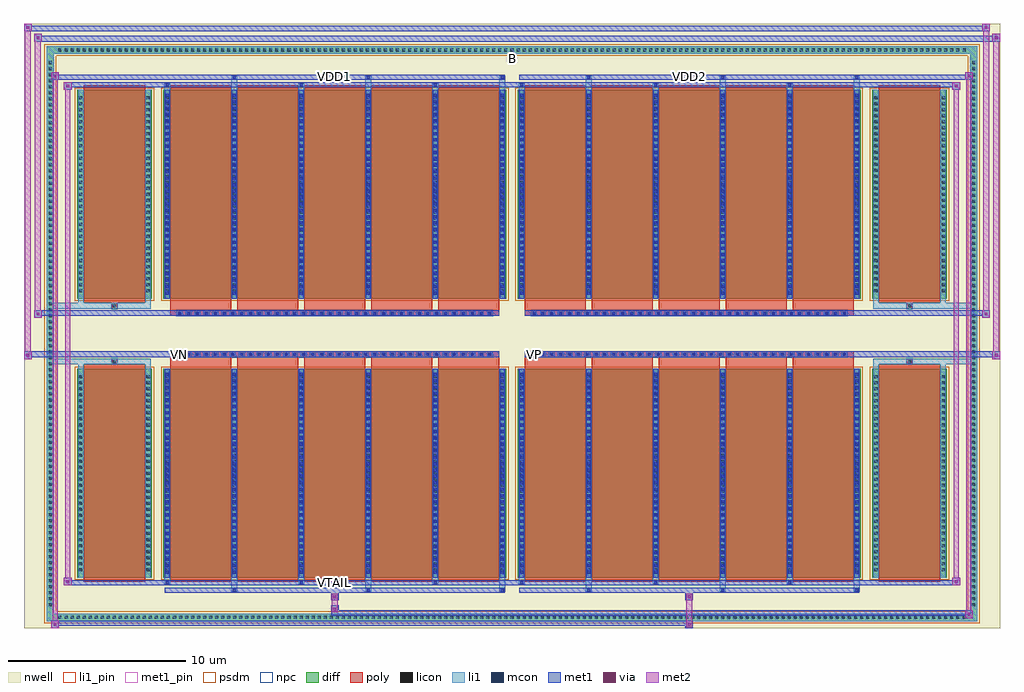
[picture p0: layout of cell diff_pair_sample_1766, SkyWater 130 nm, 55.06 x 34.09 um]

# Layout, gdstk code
import gdstk
lib = gdstk.Library(unit=1e-6, precision=5e-09)
def R(c, l, rs):  # rectangles x0, y0, x1, y1
    for r in rs: c.add(gdstk.rectangle(r[:2], r[2:], *l))
def A(c, l, x, y, w, h, nx, ny, dx, dy):  # array of equal rectangles
    R(c, l, [(x+i*dx, y+j*dy, x+i*dx+w, y+j*dy+h) for i in range(nx) for j in range(ny)])
def P(c, l, *ps):  # polygons
    for p in ps: c.add(gdstk.Polygon(p, *l))
nwell = (64, 20)
diff = (65, 20)
poly = (66, 20)
licon = (66, 44)
li1_pin = (67, 16)
li1 = (67, 20)
mcon = (67, 44)
met1_pin = (68, 16)
met1 = (68, 20)
via = (68, 44)
met2 = (69, 20)
psdm = (94, 20)
npc = (95, 20)

diff_pair_sample_1766 = lib.new_cell('diff_pair_sample_1766')
R(diff_pair_sample_1766, nwell, [(-27.53,-16.61,27.53,17.48), (-24.85,-14.8,-0.01,-0.8), (0.01,-14.8,24.85,-0.8), (-24.85,0.8,-0.01,14.8), (0.01,0.8,24.85,14.8)])
A(diff_pair_sample_1766, diff, -25.705, -16.21, 0.41, 0.41, 151, 2, 0.34, 32.01)
A(diff_pair_sample_1766, diff, -26.26, -15.505, 0.41, 0.41, 1, 91, 0, 0.34)
A(diff_pair_sample_1766, diff, 25.85, -15.505, 0.41, 0.41, 1, 91, 0, 0.34)
R(diff_pair_sample_1766, diff, [(-25.705,-16.21,25.705,-15.8), (-26.26,-15.505,-25.85,15.505), (25.85,-15.505,26.26,15.505), (-24.54,-13.755,-20.31,-1.985), (-19.67,-13.755,-0.32,-1.985), (0.32,-13.755,19.67,-1.985), (20.31,-13.755,24.54,-1.985), (-24.54,1.985,-20.31,13.755), (-19.67,1.985,-0.32,13.755), (0.32,1.985,19.67,13.755), (20.31,1.985,24.54,13.755), (-25.705,15.8,25.705,16.21)])
P(diff_pair_sample_1766, diff, [(26.26,16.21),(-26.26,16.21),(-26.26,-15.8),(-25.85,-15.8),(-25.85,15.8),(25.85,15.8),(25.85,-15.8),(-25.85,-15.8),(-26.26,-15.8),(-26.26,-16.21),(26.26,-16.21)])
A(diff_pair_sample_1766, poly, -19.28, -14.005, 3.45, 12.27, 5, 2, 3.78, 15.74)
A(diff_pair_sample_1766, poly, 0.71, -14.005, 3.45, 12.27, 5, 2, 3.78, 15.74)
A(diff_pair_sample_1766, poly, -19.28, -1.735, 3.45, 0.405, 5, 2, 3.78, 3.065)
A(diff_pair_sample_1766, poly, 0.71, -1.735, 3.45, 0.405, 5, 2, 3.78, 3.065)
A(diff_pair_sample_1766, poly, -18.91, -1.33, 0.33, 0.33, 36, 2, 0.5, 2.33)
A(diff_pair_sample_1766, poly, 1.08, -1.33, 0.33, 0.33, 36, 2, 0.5, 2.33)
R(diff_pair_sample_1766, poly, [(-24.15,-14.005,-20.7,-1.735), (20.7,-14.005,24.15,-1.735), (-22.59,-1.735,-22.26,-1.405), (-22.59,-1.735,-22.26,-1.405), (22.26,-1.735,22.59,-1.405), (22.26,-1.735,22.59,-1.405), (-19.28,-1.33,-0.71,-1), (0.71,-1.33,19.28,-1), (-19.28,1,-0.71,1.33), (0.71,1,19.28,1.33), (-22.59,1.405,-22.26,1.735), (-22.59,1.405,-22.26,1.735), (22.26,1.405,22.59,1.735), (22.26,1.405,22.59,1.735), (-24.15,1.735,-20.7,14.005), (20.7,1.735,24.15,14.005)])
A(diff_pair_sample_1766, licon, -25.585, -16.09, 0.17, 0.17, 151, 2, 0.34, 32.01)
A(diff_pair_sample_1766, licon, -26.14, -15.385, 0.17, 0.17, 1, 91, 0, 0.34)
A(diff_pair_sample_1766, licon, 25.97, -15.385, 0.17, 0.17, 1, 91, 0, 0.34)
A(diff_pair_sample_1766, licon, -24.4, -13.395, 0.17, 0.17, 1, 33, 0, 0.34)
A(diff_pair_sample_1766, licon, -20.62, -13.395, 0.17, 0.17, 1, 33, 0, 0.34)
A(diff_pair_sample_1766, licon, -19.53, -13.395, 0.17, 0.17, 6, 33, 3.78, 0.34)
A(diff_pair_sample_1766, licon, 0.46, -13.395, 0.17, 0.17, 6, 33, 3.78, 0.34)
A(diff_pair_sample_1766, licon, 20.45, -13.395, 0.17, 0.17, 1, 33, 0, 0.34)
A(diff_pair_sample_1766, licon, 24.23, -13.395, 0.17, 0.17, 1, 33, 0, 0.34)
A(diff_pair_sample_1766, licon, -18.83, -1.25, 0.17, 0.17, 36, 2, 0.5, 2.33)
A(diff_pair_sample_1766, licon, 1.16, -1.25, 0.17, 0.17, 36, 2, 0.5, 2.33)
A(diff_pair_sample_1766, licon, -24.4, 2.345, 0.17, 0.17, 1, 33, 0, 0.34)
A(diff_pair_sample_1766, licon, -20.62, 2.345, 0.17, 0.17, 1, 33, 0, 0.34)
A(diff_pair_sample_1766, licon, -19.53, 2.345, 0.17, 0.17, 6, 33, 3.78, 0.34)
A(diff_pair_sample_1766, licon, 0.46, 2.345, 0.17, 0.17, 6, 33, 3.78, 0.34)
A(diff_pair_sample_1766, licon, 20.45, 2.345, 0.17, 0.17, 1, 33, 0, 0.34)
A(diff_pair_sample_1766, licon, 24.23, 2.345, 0.17, 0.17, 1, 33, 0, 0.34)
R(diff_pair_sample_1766, licon, [(-22.51,-1.655,-22.34,-1.485), (22.34,-1.655,22.51,-1.485), (-22.51,1.485,-22.34,1.655), (22.34,1.485,22.51,1.655)])
R(diff_pair_sample_1766, li1_pin, [(-0.25,15.3,0.25,15.8)])
A(diff_pair_sample_1766, li1, -25.665, -16.17, 0.33, 0.33, 151, 2, 0.34, 32.01)
A(diff_pair_sample_1766, li1, -26.22, -15.465, 0.33, 0.33, 1, 91, 0, 0.34)
A(diff_pair_sample_1766, li1, 25.89, -15.465, 0.33, 0.33, 1, 91, 0, 0.34)
A(diff_pair_sample_1766, li1, -15.83, -14.56, 0.33, 0.805, 3, 2, 7.56, 28.315)
A(diff_pair_sample_1766, li1, -15.75, -14.56, 0.17, 0.17, 3, 2, 7.56, 28.95)
A(diff_pair_sample_1766, li1, 4.16, -14.56, 0.33, 0.805, 3, 2, 7.56, 28.315)
A(diff_pair_sample_1766, li1, 4.24, -14.56, 0.17, 0.17, 3, 2, 7.56, 28.95)
A(diff_pair_sample_1766, li1, -19.61, -14.13, 0.33, 0.375, 3, 2, 7.56, 27.885)
A(diff_pair_sample_1766, li1, -19.53, -14.13, 0.17, 0.17, 3, 2, 7.56, 28.09)
A(diff_pair_sample_1766, li1, 0.38, -14.13, 0.33, 0.375, 3, 2, 7.56, 27.885)
A(diff_pair_sample_1766, li1, 0.46, -14.13, 0.17, 0.17, 3, 2, 7.56, 28.09)
A(diff_pair_sample_1766, li1, -19.61, -13.755, 0.33, 11.77, 6, 2, 3.78, 15.74)
A(diff_pair_sample_1766, li1, 0.38, -13.755, 0.33, 11.77, 6, 2, 3.78, 15.74)
A(diff_pair_sample_1766, li1, -19.53, -13.535, 0.17, 0.17, 6, 32, 3.78, 0.36)
A(diff_pair_sample_1766, li1, -19.53, -13.535, 0.17, 11.33, 6, 2, 3.78, 15.74)
A(diff_pair_sample_1766, li1, 0.46, -13.535, 0.17, 0.17, 6, 32, 3.78, 0.36)
A(diff_pair_sample_1766, li1, 0.46, -13.535, 0.17, 11.33, 6, 2, 3.78, 15.74)
A(diff_pair_sample_1766, li1, -24.48, -13.475, 0.33, 0.33, 1, 33, 0, 0.34)
A(diff_pair_sample_1766, li1, -20.7, -13.475, 0.33, 0.33, 1, 33, 0, 0.34)
A(diff_pair_sample_1766, li1, -19.61, -13.475, 0.33, 0.33, 6, 33, 3.78, 0.34)
A(diff_pair_sample_1766, li1, 0.38, -13.475, 0.33, 0.33, 6, 33, 3.78, 0.34)
A(diff_pair_sample_1766, li1, 20.37, -13.475, 0.33, 0.33, 1, 33, 0, 0.34)
A(diff_pair_sample_1766, li1, 24.15, -13.475, 0.33, 0.33, 1, 33, 0, 0.34)
A(diff_pair_sample_1766, li1, -18.91, -1.33, 0.33, 0.33, 36, 2, 0.5, 2.33)
A(diff_pair_sample_1766, li1, 1.08, -1.33, 0.33, 0.33, 36, 2, 0.5, 2.33)
A(diff_pair_sample_1766, li1, -19.53, 2.205, 0.17, 0.17, 6, 32, 3.78, 0.36)
A(diff_pair_sample_1766, li1, 0.46, 2.205, 0.17, 0.17, 6, 32, 3.78, 0.36)
A(diff_pair_sample_1766, li1, -24.48, 2.265, 0.33, 0.33, 1, 33, 0, 0.34)
A(diff_pair_sample_1766, li1, -20.7, 2.265, 0.33, 0.33, 1, 33, 0, 0.34)
A(diff_pair_sample_1766, li1, -19.61, 2.265, 0.33, 0.33, 6, 33, 3.78, 0.34)
A(diff_pair_sample_1766, li1, 0.38, 2.265, 0.33, 0.33, 6, 33, 3.78, 0.34)
A(diff_pair_sample_1766, li1, 20.37, 2.265, 0.33, 0.33, 1, 33, 0, 0.34)
A(diff_pair_sample_1766, li1, 24.15, 2.265, 0.33, 0.33, 1, 33, 0, 0.34)
R(diff_pair_sample_1766, li1, [(-26.26,-16.21,-25.85,-15.8), (-26.26,-16.21,-25.85,-15.8), (-25.85,-16.21,25.85,-15.8), (25.85,-16.21,26.26,-15.8), (25.85,-16.21,26.26,-15.8), (-26.26,-15.8,-25.85,15.8), (25.85,-15.8,26.26,15.8), (-24.48,-13.755,-24.15,-1.985), (-20.7,-13.755,-20.37,-1.985), (20.37,-13.755,20.7,-1.985), (24.15,-13.755,24.48,-1.985), (-24.48,-1.985,-24.15,-1.405), (-20.7,-1.985,-20.37,-1.405), (20.37,-1.985,20.7,-1.405), (24.15,-1.985,24.48,-1.405), (-26.26,-1.735,-22.59,-1.405), (-24.48,-1.735,-22.59,-1.405), (-22.59,-1.735,-22.26,-1.405), (-22.26,-1.735,-20.37,-1.405), (20.37,-1.735,22.26,-1.405), (22.26,-1.735,22.59,-1.405), (22.26,-1.735,26.26,-1.405), (22.59,-1.735,24.48,-1.405), (-26.26,1.405,-22.59,1.735), (-24.48,1.405,-22.59,1.735), (-24.48,1.405,-24.15,1.985), (-22.59,1.405,-22.26,1.735), (-22.26,1.405,-20.37,1.735), (-20.7,1.405,-20.37,1.985), (20.37,1.405,22.26,1.735), (20.37,1.405,20.7,1.985), (22.26,1.405,22.59,1.735), (22.26,1.405,26.26,1.735), (22.59,1.405,24.48,1.735), (24.15,1.405,24.48,1.985), (-24.48,1.985,-24.15,13.755), (-20.7,1.985,-20.37,13.755), (20.37,1.985,20.7,13.755), (24.15,1.985,24.48,13.755), (-26.26,15.8,-25.85,16.21), (-26.26,15.8,-25.85,16.21), (-25.85,15.8,25.85,16.21), (25.85,15.8,26.26,16.21), (25.85,15.8,26.26,16.21)])
A(diff_pair_sample_1766, mcon, -15.75, -14.56, 0.17, 0.17, 3, 2, 7.56, 28.95)
A(diff_pair_sample_1766, mcon, 4.24, -14.56, 0.17, 0.17, 3, 2, 7.56, 28.95)
A(diff_pair_sample_1766, mcon, -19.53, -14.13, 0.17, 0.17, 3, 2, 7.56, 28.09)
A(diff_pair_sample_1766, mcon, 0.46, -14.13, 0.17, 0.17, 3, 2, 7.56, 28.09)
A(diff_pair_sample_1766, mcon, -19.53, -13.535, 0.17, 0.17, 6, 32, 3.78, 0.36)
A(diff_pair_sample_1766, mcon, 0.46, -13.535, 0.17, 0.17, 6, 32, 3.78, 0.36)
A(diff_pair_sample_1766, mcon, -18.83, -1.25, 0.17, 0.17, 36, 2, 0.5, 2.33)
A(diff_pair_sample_1766, mcon, 1.16, -1.25, 0.17, 0.17, 36, 2, 0.5, 2.33)
A(diff_pair_sample_1766, mcon, -19.53, 2.205, 0.17, 0.17, 6, 32, 3.78, 0.36)
A(diff_pair_sample_1766, mcon, 0.46, 2.205, 0.17, 0.17, 6, 32, 3.78, 0.36)
R(diff_pair_sample_1766, met1_pin, [(-10.13,-14.17,-9.86,-13.9), (-18.88,-1.29,-18.61,-1.02), (1.11,-1.29,1.38,-1.02), (-10.13,14.35,-9.86,14.62), (9.86,14.35,10.13,14.62)])
A(diff_pair_sample_1766, met1, -15.81, -14.62, 0.29, 0.29, 3, 2, 7.56, 28.95)
A(diff_pair_sample_1766, met1, 4.18, -14.62, 0.29, 0.29, 3, 2, 7.56, 28.95)
A(diff_pair_sample_1766, met1, -19.59, -14.19, 0.29, 0.29, 3, 2, 7.56, 28.09)
A(diff_pair_sample_1766, met1, 0.4, -14.19, 0.29, 0.29, 3, 2, 7.56, 28.09)
A(diff_pair_sample_1766, met1, -19.59, -13.755, 0.29, 11.77, 6, 2, 3.78, 15.74)
A(diff_pair_sample_1766, met1, 0.4, -13.755, 0.29, 11.77, 6, 2, 3.78, 15.74)
A(diff_pair_sample_1766, met1, -19.59, -13.595, 0.29, 0.29, 6, 32, 3.78, 0.36)
A(diff_pair_sample_1766, met1, 0.4, -13.595, 0.29, 0.29, 6, 32, 3.78, 0.36)
A(diff_pair_sample_1766, met1, -18.89, -1.31, 0.29, 0.29, 36, 2, 0.5, 2.33)
A(diff_pair_sample_1766, met1, 1.1, -1.31, 0.29, 0.29, 36, 2, 0.5, 2.33)
A(diff_pair_sample_1766, met1, -19.59, 2.145, 0.29, 0.29, 6, 32, 3.78, 0.36)
A(diff_pair_sample_1766, met1, 0.4, 2.145, 0.29, 0.29, 6, 32, 3.78, 0.36)
R(diff_pair_sample_1766, met1, [(-25.99,-16.61,-25.56,-16.18), (9.78,-16.61,10.21,-16.18), (-25.99,-16.47,10.21,-16.18), (25.56,-16.04,25.99,-15.61), (-10.21,-15.9,25.99,-15.61), (-10.21,-15.76,-9.78,-15.33), (-10.21,-15.05,-9.78,-14.62), (9.78,-15.05,10.21,-14.62), (-19.59,-14.62,-0.4,-14.33), (0.4,-14.62,19.59,-14.33), (-25.28,-14.19,-24.85,-13.76), (-25.28,-14.19,-19.59,-13.9), (-19.59,-14.19,-0.4,-13.9), (-0.4,-14.19,0.4,-13.9), (0.4,-14.19,19.59,-13.9), (19.59,-14.19,25.28,-13.9), (24.85,-14.19,25.28,-13.76), (-27.53,-1.43,-27.1,-1), (27.1,-1.43,27.53,-1), (-27.53,-1.33,-0.71,-1), (-19.28,-1.33,-0.71,-1), (0.71,-1.33,19.28,-1), (0.71,-1.33,27.53,-1), (-26.96,0.9,-26.53,1.33), (26.53,0.9,26.96,1.33), (-26.96,1,-19.28,1.33), (-19.28,1,-0.71,1.33), (0.71,1,19.28,1.33), (19.28,1,26.96,1.33), (-25.28,13.76,-24.85,14.19), (24.85,13.76,25.28,14.19), (-25.28,13.9,-19.59,14.19), (-19.59,13.9,-0.4,14.19), (-0.4,13.9,0.4,14.19), (0.4,13.9,19.59,14.19), (19.59,13.9,25.28,14.19), (-25.99,14.33,-25.56,14.76), (-25.99,14.33,-19.59,14.62), (-19.59,14.33,-0.4,14.62), (0.4,14.33,19.59,14.62), (19.59,14.33,25.99,14.62), (25.56,14.33,25.99,14.76), (-26.96,16.48,-26.53,16.91), (-26.96,16.48,-24.85,16.81), (-24.85,16.48,24.85,16.81), (24.85,16.48,27.53,16.81), (27.1,16.48,27.53,16.91), (-27.53,17.05,-27.1,17.48), (-27.53,17.05,-24.85,17.38), (-24.85,17.05,24.85,17.38), (24.85,17.05,26.96,17.38), (26.53,17.05,26.96,17.48)])
R(diff_pair_sample_1766, via, [(-25.85,-16.47,-25.7,-16.32), (9.92,-16.47,10.07,-16.32), (25.7,-15.9,25.85,-15.75), (-10.07,-15.62,-9.92,-15.47), (-10.07,-14.91,-9.92,-14.76), (9.92,-14.91,10.07,-14.76), (-25.14,-14.05,-24.99,-13.9), (24.99,-14.05,25.14,-13.9), (-27.39,-1.29,-27.24,-1.14), (27.24,-1.29,27.39,-1.14), (-26.82,1.04,-26.67,1.19), (26.67,1.04,26.82,1.19), (-25.14,13.9,-24.99,14.05), (24.99,13.9,25.14,14.05), (-25.85,14.47,-25.7,14.62), (25.7,14.47,25.85,14.62), (-26.82,16.62,-26.67,16.77), (27.24,16.62,27.39,16.77), (-27.39,17.19,-27.24,17.34), (26.67,17.19,26.82,17.34)])
R(diff_pair_sample_1766, met2, [(-25.99,-16.61,-25.56,-16.18), (-25.92,-16.61,-25.63,14.76), (-25.63,-16.61,-25.56,-16.18), (-25.94,-16.56,-25.61,-16.23), (9.83,-16.56,10.16,-16.23), (9.83,-16.23,10.16,-15), (25.56,-16.04,25.99,-15.61), (25.63,-16.04,25.92,14.76), (25.92,-16.04,25.99,-15.61), (25.61,-15.99,25.94,-15.66), (-10.16,-15.71,-9.83,-15.38), (-10.16,-15.38,-9.83,-15), (-10.16,-15,-9.83,-14.67), (9.83,-15,10.16,-14.67), (-25.28,-14.19,-24.85,-13.76), (-25.21,-14.19,-24.92,14.19), (-24.92,-14.19,-24.85,-13.76), (24.85,-14.19,25.28,-13.76), (24.92,-14.19,25.21,14.19), (25.21,-14.19,25.28,-13.76), (-25.23,-14.14,-24.9,-13.81), (24.9,-14.14,25.23,-13.81), (-27.53,-1.43,-27.1,-1), (-27.48,-1.43,-27.15,17.48), (-27.15,-1.43,-27.1,-1), (27.1,-1.43,27.53,-1), (27.15,-1.43,27.48,16.91), (27.48,-1.43,27.53,-1), (-27.48,-1.38,-27.15,-1.05), (27.15,-1.38,27.48,-1.05), (-26.96,0.9,-26.53,1.33), (-26.91,0.9,-26.58,16.91), (-26.58,0.9,-26.53,1.33), (26.53,0.9,26.96,1.33), (26.58,0.9,26.91,17.48), (26.91,0.9,26.96,1.33), (-26.91,0.95,-26.58,1.28), (26.58,0.95,26.91,1.28), (-25.28,13.76,-24.85,14.19), (-24.92,13.76,-24.85,14.19), (24.85,13.76,25.28,14.19), (25.21,13.76,25.28,14.19), (-25.23,13.81,-24.9,14.14), (24.9,13.81,25.23,14.14), (-25.99,14.33,-25.56,14.76), (-25.63,14.33,-25.56,14.76), (25.56,14.33,25.99,14.76), (25.92,14.33,25.99,14.76), (-25.94,14.38,-25.61,14.71), (25.61,14.38,25.94,14.71), (-26.96,16.48,-26.53,16.91), (-26.58,16.48,-26.53,16.91), (27.1,16.48,27.53,16.91), (27.48,16.48,27.53,16.91), (-26.91,16.53,-26.58,16.86), (27.15,16.53,27.48,16.86), (-27.53,17.05,-27.1,17.48), (-27.15,17.05,-27.1,17.48), (26.53,17.05,26.96,17.48), (26.91,17.05,26.96,17.48), (-27.48,17.1,-27.15,17.43), (26.58,17.1,26.91,17.43)])
R(diff_pair_sample_1766, psdm, [(-24.67,-13.885,-20.18,-1.855), (-19.8,-13.885,-0.19,-1.855), (0.19,-13.885,19.8,-1.855), (20.18,-13.885,24.67,-1.855), (-24.67,1.855,-20.18,13.885), (-19.8,1.855,-0.19,13.885), (0.19,1.855,19.8,13.885), (20.18,1.855,24.67,13.885)])
P(diff_pair_sample_1766, psdm, [(26.39,16.34),(-26.39,16.34),(-26.39,-15.67),(-25.72,-15.67),(-25.72,15.67),(25.72,15.67),(25.72,-15.67),(-25.72,-15.67),(-26.39,-15.67),(-26.39,-16.34),(26.39,-16.34)])
A(diff_pair_sample_1766, npc, -18.93, -1.35, 0.37, 0.37, 36, 2, 0.5, 2.33)
A(diff_pair_sample_1766, npc, 1.06, -1.35, 0.37, 0.37, 36, 2, 0.5, 2.33)
R(diff_pair_sample_1766, npc, [(-22.61,-1.755,-22.24,-1.385), (22.24,-1.755,22.61,-1.385), (-18.93,-1.35,-18.06,-0.98), (-18.93,-1.35,-18.06,-0.98), (-18.43,-1.35,-17.56,-0.98), (-18.43,-1.35,-17.56,-0.98), (-17.93,-1.35,-17.06,-0.98), (-17.93,-1.35,-17.06,-0.98), (-17.43,-1.35,-16.56,-0.98), (-17.43,-1.35,-16.56,-0.98), (-16.93,-1.35,-16.06,-0.98), (-16.93,-1.35,-16.06,-0.98), (-16.43,-1.35,-15.56,-0.98), (-16.43,-1.35,-15.56,-0.98), (-15.93,-1.35,-15.06,-0.98), (-15.93,-1.35,-15.06,-0.98), (-15.43,-1.35,-14.56,-0.98), (-15.43,-1.35,-14.56,-0.98), (-14.93,-1.35,-14.06,-0.98), (-14.93,-1.35,-14.06,-0.98), (-14.43,-1.35,-13.56,-0.98), (-14.43,-1.35,-13.56,-0.98), (-13.93,-1.35,-13.06,-0.98), (-13.93,-1.35,-13.06,-0.98), (-13.43,-1.35,-12.56,-0.98), (-13.43,-1.35,-12.56,-0.98), (-12.93,-1.35,-12.06,-0.98), (-12.93,-1.35,-12.06,-0.98), (-12.43,-1.35,-11.56,-0.98), (-12.43,-1.35,-11.56,-0.98), (-11.93,-1.35,-11.06,-0.98), (-11.93,-1.35,-11.06,-0.98), (-11.43,-1.35,-10.56,-0.98), (-11.43,-1.35,-10.56,-0.98), (-10.93,-1.35,-10.06,-0.98), (-10.93,-1.35,-10.06,-0.98), (-10.43,-1.35,-9.56,-0.98), (-10.43,-1.35,-9.56,-0.98), (-9.93,-1.35,-9.06,-0.98), (-9.93,-1.35,-9.06,-0.98), (-9.43,-1.35,-8.56,-0.98), (-9.43,-1.35,-8.56,-0.98), (-8.93,-1.35,-8.06,-0.98), (-8.93,-1.35,-8.06,-0.98), (-8.43,-1.35,-7.56,-0.98), (-8.43,-1.35,-7.56,-0.98), (-7.93,-1.35,-7.06,-0.98), (-7.93,-1.35,-7.06,-0.98), (-7.43,-1.35,-6.56,-0.98), (-7.43,-1.35,-6.56,-0.98), (-6.93,-1.35,-6.06,-0.98), (-6.93,-1.35,-6.06,-0.98), (-6.43,-1.35,-5.56,-0.98), (-6.43,-1.35,-5.56,-0.98), (-5.93,-1.35,-5.06,-0.98), (-5.93,-1.35,-5.06,-0.98), (-5.43,-1.35,-4.56,-0.98), (-5.43,-1.35,-4.56,-0.98), (-4.93,-1.35,-4.06,-0.98), (-4.93,-1.35,-4.06,-0.98), (-4.43,-1.35,-3.56,-0.98), (-4.43,-1.35,-3.56,-0.98), (-3.93,-1.35,-3.06,-0.98), (-3.93,-1.35,-3.06,-0.98), (-3.43,-1.35,-2.56,-0.98), (-3.43,-1.35,-2.56,-0.98), (-2.93,-1.35,-2.06,-0.98), (-2.93,-1.35,-2.06,-0.98), (-2.43,-1.35,-1.56,-0.98), (-2.43,-1.35,-1.56,-0.98), (-1.93,-1.35,-1.06,-0.98), (-1.93,-1.35,-1.06,-0.98), (1.06,-1.35,1.93,-0.98), (1.06,-1.35,1.93,-0.98), (1.56,-1.35,2.43,-0.98), (1.56,-1.35,2.43,-0.98), (2.06,-1.35,2.93,-0.98), (2.06,-1.35,2.93,-0.98), (2.56,-1.35,3.43,-0.98), (2.56,-1.35,3.43,-0.98), (3.06,-1.35,3.93,-0.98), (3.06,-1.35,3.93,-0.98), (3.56,-1.35,4.43,-0.98), (3.56,-1.35,4.43,-0.98), (4.06,-1.35,4.93,-0.98), (4.06,-1.35,4.93,-0.98), (4.56,-1.35,5.43,-0.98), (4.56,-1.35,5.43,-0.98), (5.06,-1.35,5.93,-0.98), (5.06,-1.35,5.93,-0.98), (5.56,-1.35,6.43,-0.98), (5.56,-1.35,6.43,-0.98), (6.06,-1.35,6.93,-0.98), (6.06,-1.35,6.93,-0.98), (6.56,-1.35,7.43,-0.98), (6.56,-1.35,7.43,-0.98), (7.06,-1.35,7.93,-0.98), (7.06,-1.35,7.93,-0.98), (7.56,-1.35,8.43,-0.98), (7.56,-1.35,8.43,-0.98), (8.06,-1.35,8.93,-0.98), (8.06,-1.35,8.93,-0.98), (8.56,-1.35,9.43,-0.98), (8.56,-1.35,9.43,-0.98), (9.06,-1.35,9.93,-0.98), (9.06,-1.35,9.93,-0.98), (9.56,-1.35,10.43,-0.98), (9.56,-1.35,10.43,-0.98), (10.06,-1.35,10.93,-0.98), (10.06,-1.35,10.93,-0.98), (10.56,-1.35,11.43,-0.98), (10.56,-1.35,11.43,-0.98), (11.06,-1.35,11.93,-0.98), (11.06,-1.35,11.93,-0.98), (11.56,-1.35,12.43,-0.98), (11.56,-1.35,12.43,-0.98), (12.06,-1.35,12.93,-0.98), (12.06,-1.35,12.93,-0.98), (12.56,-1.35,13.43,-0.98), (12.56,-1.35,13.43,-0.98), (13.06,-1.35,13.93,-0.98), (13.06,-1.35,13.93,-0.98), (13.56,-1.35,14.43,-0.98), (13.56,-1.35,14.43,-0.98), (14.06,-1.35,14.93,-0.98), (14.06,-1.35,14.93,-0.98), (14.56,-1.35,15.43,-0.98), (14.56,-1.35,15.43,-0.98), (15.06,-1.35,15.93,-0.98), (15.06,-1.35,15.93,-0.98), (15.56,-1.35,16.43,-0.98), (15.56,-1.35,16.43,-0.98), (16.06,-1.35,16.93,-0.98), (16.06,-1.35,16.93,-0.98), (16.56,-1.35,17.43,-0.98), (16.56,-1.35,17.43,-0.98), (17.06,-1.35,17.93,-0.98), (17.06,-1.35,17.93,-0.98), (17.56,-1.35,18.43,-0.98), (17.56,-1.35,18.43,-0.98), (18.06,-1.35,18.93,-0.98), (18.06,-1.35,18.93,-0.98), (-18.93,0.98,-18.06,1.35), (-18.93,0.98,-18.06,1.35), (-18.43,0.98,-17.56,1.35), (-18.43,0.98,-17.56,1.35), (-17.93,0.98,-17.06,1.35), (-17.93,0.98,-17.06,1.35), (-17.43,0.98,-16.56,1.35), (-17.43,0.98,-16.56,1.35), (-16.93,0.98,-16.06,1.35), (-16.93,0.98,-16.06,1.35), (-16.43,0.98,-15.56,1.35), (-16.43,0.98,-15.56,1.35), (-15.93,0.98,-15.06,1.35), (-15.93,0.98,-15.06,1.35), (-15.43,0.98,-14.56,1.35), (-15.43,0.98,-14.56,1.35), (-14.93,0.98,-14.06,1.35), (-14.93,0.98,-14.06,1.35), (-14.43,0.98,-13.56,1.35), (-14.43,0.98,-13.56,1.35), (-13.93,0.98,-13.06,1.35), (-13.93,0.98,-13.06,1.35), (-13.43,0.98,-12.56,1.35), (-13.43,0.98,-12.56,1.35), (-12.93,0.98,-12.06,1.35), (-12.93,0.98,-12.06,1.35), (-12.43,0.98,-11.56,1.35), (-12.43,0.98,-11.56,1.35), (-11.93,0.98,-11.06,1.35), (-11.93,0.98,-11.06,1.35), (-11.43,0.98,-10.56,1.35), (-11.43,0.98,-10.56,1.35), (-10.93,0.98,-10.06,1.35), (-10.93,0.98,-10.06,1.35), (-10.43,0.98,-9.56,1.35), (-10.43,0.98,-9.56,1.35), (-9.93,0.98,-9.06,1.35), (-9.93,0.98,-9.06,1.35), (-9.43,0.98,-8.56,1.35), (-9.43,0.98,-8.56,1.35), (-8.93,0.98,-8.06,1.35), (-8.93,0.98,-8.06,1.35), (-8.43,0.98,-7.56,1.35), (-8.43,0.98,-7.56,1.35), (-7.93,0.98,-7.06,1.35), (-7.93,0.98,-7.06,1.35), (-7.43,0.98,-6.56,1.35), (-7.43,0.98,-6.56,1.35), (-6.93,0.98,-6.06,1.35), (-6.93,0.98,-6.06,1.35), (-6.43,0.98,-5.56,1.35), (-6.43,0.98,-5.56,1.35), (-5.93,0.98,-5.06,1.35), (-5.93,0.98,-5.06,1.35), (-5.43,0.98,-4.56,1.35), (-5.43,0.98,-4.56,1.35), (-4.93,0.98,-4.06,1.35), (-4.93,0.98,-4.06,1.35), (-4.43,0.98,-3.56,1.35), (-4.43,0.98,-3.56,1.35), (-3.93,0.98,-3.06,1.35), (-3.93,0.98,-3.06,1.35), (-3.43,0.98,-2.56,1.35), (-3.43,0.98,-2.56,1.35), (-2.93,0.98,-2.06,1.35), (-2.93,0.98,-2.06,1.35), (-2.43,0.98,-1.56,1.35), (-2.43,0.98,-1.56,1.35), (-1.93,0.98,-1.06,1.35), (-1.93,0.98,-1.06,1.35), (1.06,0.98,1.93,1.35), (1.06,0.98,1.93,1.35), (1.56,0.98,2.43,1.35), (1.56,0.98,2.43,1.35), (2.06,0.98,2.93,1.35), (2.06,0.98,2.93,1.35), (2.56,0.98,3.43,1.35), (2.56,0.98,3.43,1.35), (3.06,0.98,3.93,1.35), (3.06,0.98,3.93,1.35), (3.56,0.98,4.43,1.35), (3.56,0.98,4.43,1.35), (4.06,0.98,4.93,1.35), (4.06,0.98,4.93,1.35), (4.56,0.98,5.43,1.35), (4.56,0.98,5.43,1.35), (5.06,0.98,5.93,1.35), (5.06,0.98,5.93,1.35), (5.56,0.98,6.43,1.35), (5.56,0.98,6.43,1.35), (6.06,0.98,6.93,1.35), (6.06,0.98,6.93,1.35), (6.56,0.98,7.43,1.35), (6.56,0.98,7.43,1.35), (7.06,0.98,7.93,1.35), (7.06,0.98,7.93,1.35), (7.56,0.98,8.43,1.35), (7.56,0.98,8.43,1.35), (8.06,0.98,8.93,1.35), (8.06,0.98,8.93,1.35), (8.56,0.98,9.43,1.35), (8.56,0.98,9.43,1.35), (9.06,0.98,9.93,1.35), (9.06,0.98,9.93,1.35), (9.56,0.98,10.43,1.35), (9.56,0.98,10.43,1.35), (10.06,0.98,10.93,1.35), (10.06,0.98,10.93,1.35), (10.56,0.98,11.43,1.35), (10.56,0.98,11.43,1.35), (11.06,0.98,11.93,1.35), (11.06,0.98,11.93,1.35), (11.56,0.98,12.43,1.35), (11.56,0.98,12.43,1.35), (12.06,0.98,12.93,1.35), (12.06,0.98,12.93,1.35), (12.56,0.98,13.43,1.35), (12.56,0.98,13.43,1.35), (13.06,0.98,13.93,1.35), (13.06,0.98,13.93,1.35), (13.56,0.98,14.43,1.35), (13.56,0.98,14.43,1.35), (14.06,0.98,14.93,1.35), (14.06,0.98,14.93,1.35), (14.56,0.98,15.43,1.35), (14.56,0.98,15.43,1.35), (15.06,0.98,15.93,1.35), (15.06,0.98,15.93,1.35), (15.56,0.98,16.43,1.35), (15.56,0.98,16.43,1.35), (16.06,0.98,16.93,1.35), (16.06,0.98,16.93,1.35), (16.56,0.98,17.43,1.35), (16.56,0.98,17.43,1.35), (17.06,0.98,17.93,1.35), (17.06,0.98,17.93,1.35), (17.56,0.98,18.43,1.35), (17.56,0.98,18.43,1.35), (18.06,0.98,18.93,1.35), (18.06,0.98,18.93,1.35), (-22.61,1.385,-22.24,1.755), (22.24,1.385,22.61,1.755)])
diff_pair_sample_1766.add(gdstk.Label('VTAIL', (-9.995,-14.035), layer=68, texttype=5))
diff_pair_sample_1766.add(gdstk.Label('VN', (-18.745,-1.155), layer=68, texttype=5))
diff_pair_sample_1766.add(gdstk.Label('VP', (1.245,-1.155), layer=68, texttype=5))
diff_pair_sample_1766.add(gdstk.Label('B', (0,15.55), layer=67, texttype=5))
diff_pair_sample_1766.add(gdstk.Label('VDD2', (9.995,14.485), layer=68, texttype=5))
diff_pair_sample_1766.add(gdstk.Label('VDD1', (-9.995,14.485), layer=68, texttype=5))

lib.write_gds('diff_pair_sample_1766.gds')
